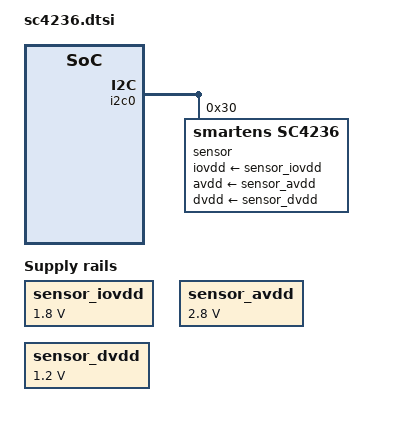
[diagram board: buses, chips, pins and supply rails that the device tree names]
// SPDX-License-Identifier: (GPL-2.0-only OR BSD-2-Clause)
/*
 * SmartSens SC4236 wiring shared by T31 boards.
 *
 * Board differences (reset/powerdown GPIOs, rail enables, a non-standard
 * bus/address/lane count) belong in the camera .dtsi as &sensor or
 * &sensor_ep overrides.
 */

#include <dt-bindings/clock/ingenic,t31-cgu.h>

/ {
	sensor_iovdd: sensor-iovdd {
		compatible = "regulator-fixed";
		regulator-name = "sensor-iovdd";
		regulator-min-microvolt = <1800000>;
		regulator-max-microvolt = <1800000>;
		regulator-always-on;
	};

	sensor_avdd: sensor-avdd {
		compatible = "regulator-fixed";
		regulator-name = "sensor-avdd";
		regulator-min-microvolt = <2800000>;
		regulator-max-microvolt = <2800000>;
		regulator-always-on;
	};

	sensor_dvdd: sensor-dvdd {
		compatible = "regulator-fixed";
		regulator-name = "sensor-dvdd";
		regulator-min-microvolt = <1200000>;
		regulator-max-microvolt = <1200000>;
		regulator-always-on;
	};
};

&i2c0 {
	sensor: camera@30 {
		compatible = "smartens,sc4236";
		reg = <0x30>;

		clocks = <&cgu T31_CLK_CIM>;
		clock-names = "xclk";
		assigned-clocks = <&cgu T31_CLK_CIM>;
		assigned-clock-rates = <24000000>;

		iovdd-supply = <&sensor_iovdd>;
		avdd-supply = <&sensor_avdd>;
		dvdd-supply = <&sensor_dvdd>;

		port {
			sensor_ep: endpoint {
				data-lanes = <1 2>;
				link-frequencies = /bits/ 64 <200000000>;
			};
		};
	};
};
